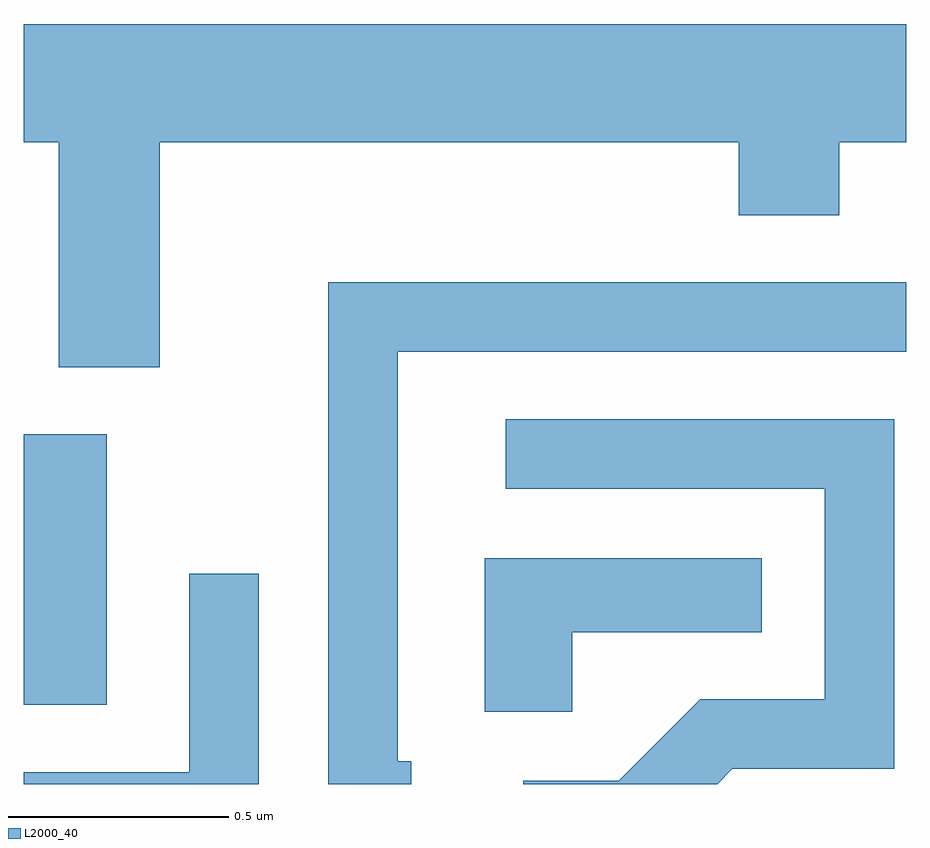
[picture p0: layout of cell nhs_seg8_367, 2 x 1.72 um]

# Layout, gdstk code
import gdstk
lib = gdstk.Library(unit=1e-6, precision=1e-09)
def R(c, l, rs):  # rectangles x0, y0, x1, y1
    for r in rs: c.add(gdstk.rectangle(r[:2], r[2:], *l))
def P(c, l, *ps):  # polygons
    for p in ps: c.add(gdstk.Polygon(p, *l))
L2000_40 = (2000, 40)

nhs_seg8_367 = lib.new_cell('nhs_seg8_367')
R(nhs_seg8_367, L2000_40, [(187.611,1899.521,187.799,1900.134)])
P(nhs_seg8_367, L2000_40, [(187.919,1900.796),(189.231,1900.796),(189.231,1900.631),(189.459,1900.631),(189.459,1900.796),(189.611,1900.796),(189.611,1901.064),(187.611,1901.064),(187.611,1900.796),(187.691,1900.796),(187.691,1900.286),(187.919,1900.286)],
  [(188.489,1899.394),(188.459,1899.394),(188.459,1900.321),(189.611,1900.321),(189.611,1900.479),(188.301,1900.479),(188.301,1899.342),(188.489,1899.342)],
  [(189.217,1899.376),(189.584,1899.376),(189.584,1900.169),(188.703,1900.169),(188.703,1900.011),(189.426,1900.011),(189.426,1899.534),(189.144,1899.534),(188.959,1899.349),(188.743,1899.349),(188.743,1899.342),(189.183,1899.342)],
  [(188.854,1899.686),(189.283,1899.686),(189.283,1899.854),(188.656,1899.854),(188.656,1899.506),(188.854,1899.506)],
  [(188.144,1899.818),(187.986,1899.818),(187.986,1899.369),(187.611,1899.369),(187.611,1899.342),(188.144,1899.342)])

lib.write_gds('nhs_seg8_367.gds')
